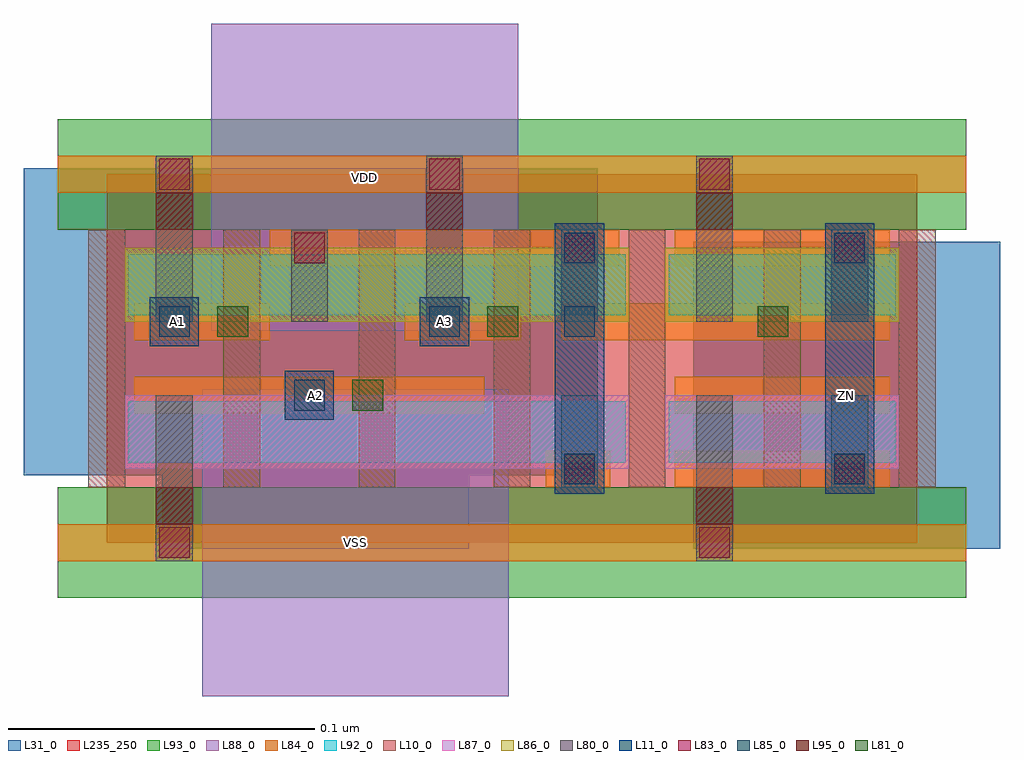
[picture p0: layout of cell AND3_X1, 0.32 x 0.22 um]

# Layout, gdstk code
import gdstk
lib = gdstk.Library(unit=1e-6, precision=1e-09)
def R(c, l, rs):  # rectangles x0, y0, x1, y1
    for r in rs: c.add(gdstk.rectangle(r[:2], r[2:], *l))
def A(c, l, x, y, w, h, nx, ny, dx, dy):  # array of equal rectangles
    R(c, l, [(x+i*dx, y+j*dy, x+i*dx+w, y+j*dy+h) for i in range(nx) for j in range(ny)])
L10_0 = (10, 0)
L11_0 = (11, 0)
L31_0 = (31, 0)
L80_0 = (80, 0)
L81_0 = (81, 0)
L83_0 = (83, 0)
L84_0 = (84, 0)
L85_0 = (85, 0)
L86_0 = (86, 0)
L87_0 = (87, 0)
L88_0 = (88, 0)
L92_0 = (92, 0)
L93_0 = (93, 0)
L95_0 = (95, 0)
L235_250 = (235, 250)

and3_x1 = lib.new_cell('AND3_X1')
A(and3_x1, L10_0, -0.006, 0.018, 0.012, 0.084, 7, 1, 0.044, 0)
R(and3_x1, L11_0, [(0.146,0.016,0.162,0.104), (0.234,0.016,0.25,0.104), (0.058,0.04,0.074,0.056), (0.014,0.064,0.03,0.08), (0.102,0.064,0.118,0.08)])
R(and3_x1, L31_0, [(0.018,-0.002,0.118,0.098), (0.191,-0.002,0.291,0.098), (-0.027,0.022,0.073,0.122), (0.06,0.022,0.16,0.122)])
A(and3_x1, L80_0, 0.016, 0.072, 0.012, 0.054, 3, 1, 0.088, 0)
A(and3_x1, L80_0, 0.06, 0.072, 0.012, 0.03, 3, 1, 0.088, 0)
R(and3_x1, L80_0, [(0.016,-0.006,0.028,0.048), (0.192,-0.006,0.204,0.048), (0.148,0.018,0.16,0.048), (0.236,0.018,0.248,0.048)])
A(and3_x1, L81_0, 0.036, 0.067, 0.01, 0.01, 3, 1, 0.088, 0)
R(and3_x1, L81_0, [(0.08,0.043,0.09,0.053)])
A(and3_x1, L83_0, 0.061, 0.091, 0.01, 0.01, 3, 1, 0.088, 0)
A(and3_x1, L83_0, 0.017, 0.115, 0.01, 0.01, 3, 1, 0.088, 0)
R(and3_x1, L83_0, [(0.017,-0.005,0.027,0.005), (0.193,-0.005,0.203,0.005), (0.149,0.019,0.159,0.029), (0.237,0.019,0.247,0.029)])
R(and3_x1, L84_0, [(-0.016,-0.006,0.28,0.006), (0.143,0.018,0.164,0.03), (0.185,0.018,0.255,0.03), (0.009,0.042,0.123,0.054), (0.185,0.042,0.255,0.054), (0.009,0.066,0.053,0.078), (0.097,0.066,0.135,0.078), (0.148,0.066,0.255,0.078), (0.053,0.09,0.167,0.102), (0.185,0.09,0.255,0.102), (-0.016,0.114,0.28,0.126)])
R(and3_x1, L85_0, [(0.149,0.019,0.159,0.029), (0.237,0.019,0.247,0.029), (0.061,0.043,0.071,0.053), (0.017,0.067,0.027,0.077), (0.105,0.067,0.115,0.077), (0.149,0.067,0.159,0.077), (0.149,0.091,0.159,0.101), (0.237,0.091,0.247,0.101)])
R(and3_x1, L86_0, [(0.006,0.072,0.17,0.096), (0.182,0.072,0.258,0.096)])
R(and3_x1, L87_0, [(0.006,0.024,0.17,0.048), (0.182,0.024,0.258,0.048)])
R(and3_x1, L88_0, [(0.031,-0.05,0.131,0.05), (0.034,0.069,0.134,0.169)])
R(and3_x1, L92_0, [(0.007,0.026,0.169,0.046), (0.183,0.026,0.227,0.046), (0.227,0.026,0.257,0.046), (0.007,0.074,0.169,0.094), (0.183,0.074,0.227,0.094), (0.227,0.074,0.257,0.094)])
R(and3_x1, L93_0, [(-0.016,-0.018,0.28,0.018), (-0.016,0.102,0.28,0.138)])
A(and3_x1, L95_0, 0.016, 0.102, 0.012, 0.012, 3, 1, 0.088, 0)
R(and3_x1, L95_0, [(0.016,0.006,0.028,0.018), (0.192,0.006,0.204,0.018)])
R(and3_x1, L235_250, [(0,0,0.264,0.12)])
and3_x1.add(gdstk.Label('VSS', (0.081,0), layer=88, texttype=0))
and3_x1.add(gdstk.Label('VDD', (0.084,0.119), layer=88, texttype=0))
and3_x1.add(gdstk.Label('ZN', (0.241,0.048), layer=31, texttype=0))
and3_x1.add(gdstk.Label('A3', (0.11,0.072), layer=31, texttype=0))
and3_x1.add(gdstk.Label('A2', (0.068,0.048), layer=31, texttype=0))
and3_x1.add(gdstk.Label('A1', (0.023,0.072), layer=31, texttype=0))

lib.write_gds('AND3_X1.gds')
